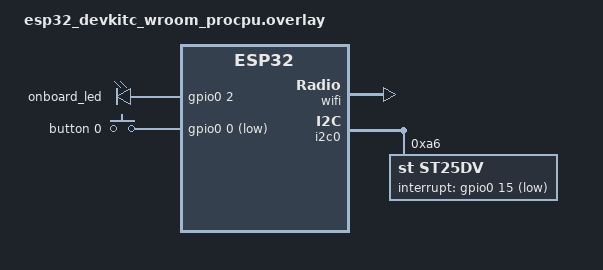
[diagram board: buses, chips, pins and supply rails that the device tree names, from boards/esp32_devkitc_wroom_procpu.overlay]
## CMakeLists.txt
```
cmake_minimum_required(VERSION 3.20.0)
set(CMAKE_VERBOSE_MAKEFILE 1)
set(DEVICE_CERT_PREFIX webblinky_demo)
set(SERVER_NAME golioth)

set(COMPATIBLE_BOARDS qemu_cortex_m3 qemu_cortex_r5 qemu_xtensa qemu_x86_64 esp32_devkitc_wroom esp32_devkitc_wrover esp32c3_devkitm esp32c3_devkitm/esp32c3 rpi_pico/rp2040/w rpi_pico rpi_pico2/rp2350a/m33/w nrf52_adafruit_feather teensy41 adafruit_feather_nrf52840 esp32_devkitc_wroom/esp32/procpu esp32_devkitc_wrover/esp32/procpu esp32c3_devkitm/esp32c3 esp32c6_devkitc esp32c6_devkitc/esp32c6 esp32c6_devkitc/esp32c6/hpcore)

set(WIFI_BOARDS qemu_cortex_r5 qemu_xtensa esp32_devkitc_wroom esp32_devkitc_wrover esp32c3_devkitm rpi_pico/rp2040/w rpi_pico2/rp2350a/m33/w rpi_pico esp32_devkitc_wroom/esp32/procpu esp32_devkitc_wrover/esp32/procpu esp32c3_devkitm/esp32c3 esp32c6_devkitc esp32c6_devkitc/esp32c6 esp32c6_devkitc/esp32c6/hpcore)
if(NOT ${BOARD} IN_LIST COMPATIBLE_BOARDS)
    message(FATAL_ERROR "App $ENV{UROS_APP} not compatible with board ${BOARD}")
endif()

add_compile_definitions(HAS_WIFI)
if(EXISTS  ${CMAKE_CURRENT_SOURCE_DIR}/local.conf )
  set(EXTRA_CONF_FILE local.conf)
else()
  MESSAGE(WARN " ${CMAKE_CURRENT_SOURCE_DIR}/local.conf not found")
endif()
list(APPEND EXTRA_ZEPHYR_MODULES "${CMAKE_CURRENT_SOURCE_DIR}/sensors")
list(APPEND EXTRA_ZEPHYR_MODULES "${CMAKE_CURRENT_SOURCE_DIR}/onboarding")


find_package(Zephyr REQUIRED HINTS $ENV{ZEPHYR_BASE})

project(webblinky)
function(add_dependencies_ifdef feature_toggle)
  if(${${feature_toggle}})
    add_dependencies(${ARGN})
  endif()
endfunction()


set(CMAKE_C_FLAGS "${CMAKE_C_FLAGS} -std=c17 -pendantic -Werror -ggdb")
set(gen_dir ${ZEPHYR_BINARY_DIR}/include/generated/)

if (${CONFIG_ONBOARDING_CERTS_GENERATE_CERTS} )
  if ( NOT CONFIG_ONBOARDING_CERTS_DEVICE_ID )
    message( FATAL_ERROR "DEVICE_ID not configured")
  endif()
  generate_inc_file_for_target(
    app
    root_cert/${SERVER_NAME}.crt.der
    ${gen_dir}/ca_certificate.inc
  )
  generate_inc_file_for_target(
    app
    device_certs/${DEVICE_CERT_PREFIX}-${CONFIG_ONBOARDING_CERTS_DEVICE_ID}.crt.der
    ${gen_dir}/device_cert.inc
  )

  generate_inc_file_for_target(
    app
    device_certs/${DEVICE_CERT_PREFIX}-${CONFIG_ONBOARDING_CERTS_DEVICE_ID}.key.der
    ${gen_dir}/device_privkey.inc
  )
endif()

FILE(GLOB app_sources src/main.c)



target_sources(app PRIVATE ${app_sources} )
target_link_libraries(app PUBLIC onboarding sensors)
target_link_libraries_ifdef(CONFIG_LIBST25DV app PUBLIC LIBST25DV )
```

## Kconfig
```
    
rsource "onboarding/Kconfig"
rsource "sensors/Kconfig"

module = WEBBLINKY
module-str = Web Blinky
module-help = Web Blinky demo

source "subsys/logging/Kconfig.template.log_config"

source "Kconfig.zephyr"
```

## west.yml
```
manifest:
  version: 1.2

  remotes:
    - name: beechwoods
      url-base: https://github.com/beechwoods-software

    - name: rpi-openocd
      url-base: https://github.com/raspberrypi

    - name: zephyr-project
      url-base: https://github.com/zephyrproject-rtos
    
    - name: zephyr-fork
      url-base: https://github.com/ThreeEights

  projects:
    - name: zephyr
      remote: zephyr-fork
      repo-path: zephyr
      revision: 18497c57f14b701c770d9067a9cdfeb3f908b5e8
      path: zephyr
      import:
        path-prefix: external
        name-allowlist:
          - cmsis_6
          - hal_infineon
          - hal_rpi_pico
          - zephyr
  
    - name: openocd
      remote: rpi-openocd
      repo-path: openocd
      revision: 806fa3d187d1fd5d940701e701a695c2e3998c18
      path: external/openocd
      
    - name: onboarding
      remote: beechwoods
      repo-path: onboarding
      revision: e48048b217d1adccc6bd425ed1537f344b0ff16f
      path: onboarding
      
    - name: st25dv
      remote: beechwoods
      repo-path: st25dv
      revision: 952205676cfd9af258dc56e046f17b607b3071a5
      path: onboarding/st25dv
    
    - name: sensors
      remote: beechwoods
      repo-path: sensors
      revision: 0a75132bfeaa5383c6fde677c0fe31b74b81f278
      path: sensors
      
  self:
    path: .
```

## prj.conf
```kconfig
CONFIG_BOOT_BANNER_STRING="Weblinky booting"

# onboarding features
CONFIG_ONBOARDING_WIFI=y
CONFIG_ONBOARDING_WIFI_AP=y
CONFIG_ONBOARDING_WEB_SERVER=y
CONFIG_ONBOARDING_CAPTIVE_PORTAL=y
CONFIG_ONBOARDING_BLUETOOTH=y
CONFIG_ONBOARDING_BLUETOOTH_GATT=y
CONFIG_ONBOARDING_SHELL=y
CONFIG_ONBOARDING_OTA=n
CONFIG_ONBOARDING_OTA_NAME="webblinky"
CONFIG_ONBOARDING_DT=n
CONFIG_ONBOARDING_NVS=y


CONFIG_OUTPUT_DISASSEMBLY=y
CONFIG_OUTPUT_DISASSEMBLE_ALL=n

#networking
CONFIG_NETWORKING=y
CONFIG_NET_L2_ETHERNET=y
CONFIG_NET_MAX_CONN=8

CONFIG_WIFI=y

# To support the bluetooth onboarding stuff
CONFIG_JSON_LIBRARY=y

CONFIG_ONBOARDING_LOG_LEVEL_DBG=y

CONFIG_FLASH_MAP=y
CONFIG_SETTINGS=y

#Bluetooth - Comment the items below out if you only want wifi
CONFIG_BT_SMP_LOG_LEVEL_DBG=y
CONFIG_BT_KEYS_LOG_LEVEL_DBG=y
CONFIG_BT_CONN_LOG_LEVEL_DBG=y
CONFIG_BT_GATT_LOG_LEVEL_DBG=n
CONFIG_BT_HCI_CORE_LOG_LEVEL_DBG=n
CONFIG_BT_HCI_DRIVER_LOG_LEVEL_DBG=n
CONFIG_BT_CRYPTO_LOG_LEVEL_DBG=y
CONFIG_BT_LOG_LEVEL_DBG=n

CONFIG_BT_RPA_LOG_LEVEL_DBG=y

CONFIG_NET_IPV4=y
CONFIG_NET_IPV4_AUTO=n
CONFIG_NET_UDP=y
CONFIG_NET_TCP=y
CONFIG_NET_IPV6=n

CONFIG_NET_DHCPV4=y
CONFIG_NET_DHCPV4_INITIAL_DELAY_MAX=10
CONFIG_NET_DHCPV4_SERVER=y

CONFIG_NET_SOCKETS_POLL_MAX=5
#CONFIG_NET_MAX_CONTEXTS=5
CONFIG_NET_MAX_CONTEXTS=12
CONFIG_NET_MAX_CONN=8
CONFIG_ZVFS_OPEN_MAX=20
CONFIG_NET_SOCKETS_SERVICE_STACK_SIZE=3072

#mDNS support
CONFIG_MDNS_RESPONDER=y
CONFIG_NET_HOSTNAME_ENABLE=y
CONFIG_NET_HOSTNAME_DYNAMIC=y
CONFIG_NET_HOSTNAME="webblinky"
CONFIG_NET_IPV4_IGMP=y

#DNS support
CONFIG_DNS_RESOLVER=y
CONFIG_DNS_RESOLVER_ADDITIONAL_BUF_CTR=5
CONFIG_DNS_RESOLVER_ADDITIONAL_QUERIES=2
CONFIG_DNS_RESOLVER_MAX_SERVERS=2
CONFIG_DNS_NUM_CONCUR_QUERIES=5
 
# Wifi AP support
CONFIG_ONBOARDING_WIFI_AP_ADDRESS="192.168.17.1"
CONFIG_ONBOARDING_WIFI_AP_SSID="webblinky-"

CONFIG_NVS=y

# Sensors
CONFIG_USE_BUTTON=y
CONFIG_USE_READY_LED=y

CONFIG_REBOOT=y

CONFIG_HWINFO=y
# Shells
CONFIG_SHELL=y
# needed to obtain device id
CONFIG_HWINFO_SHELL=y
CONFIG_NET_L2_WIFI_SHELL=y
CONFIG_NET_SHELL=y
CONFIG_FLASH_MAP_SHELL=y
CONFIG_FLASH_SHELL=y
CONFIG_I2C_SHELL=n
CONFIG_GPIO_SHELL=n
CONFIG_NET_SHELL=y
    
#Logging
CONFIG_LOG=y
CONFIG_LOG_MODE_MINIMAL=n
CONFIG_LOG_MODE_IMMEDIATE=n
CONFIG_WEBBLINKY_LOG_LEVEL_DBG=n
CONFIG_ONBOARDING_LOG_LEVEL_DBG=y
CONFIG_SENSORS_LOG_LEVEL_DBG=n
CONFIG_NET_LOG=y
CONFIG_NET_IPV4_LOG_LEVEL_DBG=n
CONFIG_NET_TCP_LOG_LEVEL_DBG=n
CONFIG_DNS_SOCKET_DISPATCHER_LOG_LEVEL_DBG=n
CONFIG_NET_ICMPV4_LOG_LEVEL_DBG=n
CONFIG_NET_DHCPV4_LOG_LEVEL_DBG=n
CONFIG_MDNS_RESPONDER_LOG_LEVEL_DBG=n
CONFIG_NET_MGMT_EVENT_LOG_LEVEL_DBG=n
CONFIG_NET_L2_WIFI_MGMT_LOG_LEVEL_DBG=n
CONFIG_WIFI_LOG_LEVEL_DBG=n
CONFIG_WIFI_NM_LOG_LEVEL_DBG=y
CONFIG_NET_SOCKETS_LOG_LEVEL_DBG=n
CONFIG_NVS_LOG_LEVEL_DBG=n
CONFIG_I2C_LOG_LEVEL_DBG=n
CONFIG_DNS_RESOLVER_LOG_LEVEL_DBG=n
CONFIG_FLASH_LOG_LEVEL_DBG=n


CONFIG_NET_SOCKETS=y

# The configuration of the CONFIG_XXXX_STACK_SIZE is both application and board specific
# Stack sizes moved to board specific conf files
# Network configuration moved to board specific conf files


CONFIG_GPIO=y
CONFIG_I2C=y

# developer
CONFIG_INIT_STACKS=y

#debug
CONFIG_NET_DEBUG_NET_PKT_ALLOC=n
CONFIG_KERNEL_SHELL=y

CONFIG_MAIN_STACK_SIZE=2048
CONFIG_ASSERT=y
CONFIG_ASSERT_VERBOSE=y
CONFIG_STACK_CANARIES=y
CONFIG_STACK_SENTINEL=y
#CONFIG_THREAD_NAME=y
#CONFIG_THREAD_STACK_INFO=n /* set by STACK_SENTINAL */
CONFIG_UART_CONSOLE_DEBUG_SERVER_HOOKS=n
```

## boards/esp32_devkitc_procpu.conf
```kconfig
CONFIG_SYSTEM_WORKQUEUE_STACK_SIZE=4096
CONFIG_SERIAL=y
    
CONFIG_WIFI=y
CONFIG_NET_L2_WIFI_MGMT=y

CONFIG_WIFI_ESP32=y

#WIFI Buffering
CONFIG_ESP32_WIFI_DYNAMIC_RX_MGMT_BUFFER=y
CONFIG_ESP32_WIFI_STATIC_RX_MGMT_BUFFER=n
#CONFIG_ESP32_WIFI_STATIC_RX_BUFFER_NUM=10

CONFIG_ESP32_WIFI_DYNAMIC_TX_BUFFER=y
CONFIG_ESP32_WIFI_STATIC_TX_BUFFER=n
#CONFIG_ESP32_WIFI_STATIC_TX_BUFFER_NUM=16

# AP
CONFIG_NET_MGMT_EVENT_STACK_SIZE=3072
CONFIG_ESP32_WIFI_STA_AUTO_DHCPV4=y
CONFIG_ESP32_WIFI_STA_RECONNECT=y

# speed improvement costs 10K ram
CONFIG_ESP32_WIFI_IRAM_OPT=y
# speed improvement costs 17K ram
CONFIG_ESP32_WIFI_RX_IRAM_OPT=n
#CONFIG_NET_TX_STACK_SIZE=2048
#CONFIG_NET_RX_STACK_SIZE=2048

CONFIG_NET_CONNECTION_MANAGER=n
CONFIG_HTTP_NUM_HANDLERS=2

#CONFIG_ESP_WIFI_HEAP_SYSTEM=n
#Debug
#CONFIG_ESP_LOG_LEVEL_DBG=y

#CONFIG_GOLIOTH_PSK_ID="20241113162258-esp32_1@webblinky"
#CONFIG_GOLIOTH_PSK="31fded193fb58cce277baaee5c4f613b"
```

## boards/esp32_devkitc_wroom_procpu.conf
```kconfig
CONFIG_SYSTEM_WORKQUEUE_STACK_SIZE=4096
CONFIG_SERIAL=y
    
CONFIG_WIFI=y
CONFIG_NET_L2_WIFI_MGMT=y

CONFIG_WIFI_ESP32=y

#WIFI Buffering
CONFIG_ESP32_WIFI_DYNAMIC_RX_MGMT_BUFFER=y
CONFIG_ESP32_WIFI_STATIC_RX_MGMT_BUFFER=n
#CONFIG_ESP32_WIFI_STATIC_RX_BUFFER_NUM=10

CONFIG_ESP32_WIFI_DYNAMIC_TX_BUFFER=y
CONFIG_ESP32_WIFI_STATIC_TX_BUFFER=n
#CONFIG_ESP32_WIFI_STATIC_TX_BUFFER_NUM=16

# AP
CONFIG_ESP32_WIFI_APSTA_MODE=y
CONFIG_NET_MGMT_EVENT_STACK_SIZE=3072
CONFIG_ESP32_WIFI_STA_AUTO_DHCPV4=y
CONFIG_ESP32_WIFI_STA_RECONNECT=y

# speed improvement costs 10K ram
CONFIG_ESP32_WIFI_IRAM_OPT=y
# speed improvement costs 17K ram
CONFIG_ESP32_WIFI_RX_IRAM_OPT=n
#CONFIG_NET_TX_STACK_SIZE=2048
#CONFIG_NET_RX_STACK_SIZE=2048

CONFIG_NET_CONNECTION_MANAGER=n
CONFIG_HTTP_NUM_HANDLERS=2

#CONFIG_ESP_WIFI_HEAP_SYSTEM=n
#Debug
#CONFIG_ESP_LOG_LEVEL_DBG=y

#CONFIG_GOLIOTH_PSK_ID="20241113162258-esp32_1@webblinky"
#CONFIG_GOLIOTH_PSK="31fded193fb58cce277baaee5c4f613b"
```

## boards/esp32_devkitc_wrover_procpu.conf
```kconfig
    
#CONFIG_HEAP_MEM_POOL_SIZE=51680
#CONFIG_HEAP_MEM_POOL_SIZE=63488
#CONFIG_HEAP_MEM_POOL_SIZE=71680
#CONFIG_HEAP_MEM_POOL_SIZE=40960

#CONFIG_GPIO_SHELL=n
CONFIG_SYSTEM_WORKQUEUE_STACK_SIZE=4096
CONFIG_SERIAL=y
    
CONFIG_WIFI=y
CONFIG_NET_L2_WIFI_MGMT=y

CONFIG_WIFI_ESP32=y

CONFIG_ESP32_WIFI_DYNAMIC_RX_MGMT_BUFFER=y
CONFIG_ESP32_WIFI_STATIC_RX_MGMT_BUFFER=n
    
CONFIG_ESP32_WIFI_DYNAMIC_TX_BUFFER=y
CONFIG_ESP32_WIFI_STATIC_TX_BUFFER=n

# AP
CONFIG_ESP32_WIFI_AP_STA_MODE=n
CONFIG_WIFI_NM=n
CONFIG_ESP32_WIFI_APSTA_MODE=y
CONFIG_NET_MGMT_EVENT_STACK_SIZE=3072
CONFIG_ESP32_WIFI_STA_AUTO_DHCPV4=y
CONFIG_ESP32_WIFI_STA_RECONNECT=y

# speed improvement costs 10K ram
CONFIG_ESP32_WIFI_IRAM_OPT=y
# speed improvement costs 17K ram
CONFIG_ESP32_WIFI_RX_IRAM_OPT=n
#CONFIG_NET_TX_STACK_SIZE=2048
#CONFIG_NET_RX_STACK_SIZE=2048


CONFIG_NET_CONNECTION_MANAGER=n
CONFIG_HTTP_NUM_HANDLERS=2

#CONFIG_ESP_WIFI_HEAP_SYSTEM=y
#Debug
#CONFIG_ESP_LOG_LEVEL_DBG=y

#CONFIG_ESP_LOG_LEVEL_DBG=y
#CONFIG_GOLIOTH_PSK_ID="20241118194259-esp32_wrover_cam@webblinky"
#CONFIG_GOLIOTH_PSK="28ad89ca374025ae0d807fcf875daaf3"
```

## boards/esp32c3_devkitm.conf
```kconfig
CONFIG_SYSTEM_WORKQUEUE_STACK_SIZE=2048

CONFIG_CONSOLE=y
CONFIG_SERIAL=y
CONFIG_UART_CONSOLE=n
CONFIG_SERIAL_ESP32_USB=y

CONFIG_USE_READY_LED_STRIP=y

#wifi
CONFIG_WIFI_ESP32=y
CONFIG_ESP32_WIFI_AP_STA_MODE=n
CONFIG_WIFI_NM=n
CONFIG_ESP_WIFI_HEAP_RUNTIME=y
CONFIG_ESP32_WIFI_STA_AUTO_DHCPV4=y
CONFIG_ESP32_WIFI_STA_RECONNECT=y
CONFIG_ESP32_WIFI_APSTA_MODE=y

CONFIG_ESP32_WIFI_DYNAMIC_RX_MGMT_BUFFER=n
CONFIG_ESP32_WIFI_STATIC_RX_MGMT_BUFFER=y
    
CONFIG_ESP32_WIFI_DYNAMIC_TX_BUFFER=n
CONFIG_ESP32_WIFI_STATIC_TX_BUFFER=y

# AP
CONFIG_ESP32_WIFI_AP_STA_MODE=n
CONFIG_WIFI_NM=n
CONFIG_ESP32_WIFI_APSTA_MODE=y
CONFIG_NET_MGMT_EVENT_STACK_SIZE=3072
CONFIG_ESP32_WIFI_STA_AUTO_DHCPV4=y
CONFIG_ESP32_WIFI_STA_RECONNECT=y
  
# speed improvement costs 10K ram
CONFIG_ESP32_WIFI_IRAM_OPT=y
# speed improvement costs 17K ram
CONFIG_ESP32_WIFI_RX_IRAM_OPT=n

CONFIG_NET_CONNECTION_MANAGER=n
CONFIG_HTTP_NUM_HANDLERS=2

#CONFIG_ESP_WIFI_HEAP_SYSTEM=y
#Debug
#CONFIG_ESP_LOG_LEVEL_DBG=y
```

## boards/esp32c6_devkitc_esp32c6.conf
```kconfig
CONFIG_SYSTEM_WORKQUEUE_STACK_SIZE=2600

CONFIG_USE_READY_LED=n

#wifi
CONFIG_WIFI_ESP32=y
#CONFIG_ESP_WIFI_HEAP_RUNTIME=y

#CONFIG_ESP32_WIFI_DYNAMIC_RX_MGMT_BUFFER=n
#CONFIG_ESP32_WIFI_STATIC_RX_MGMT_BUFFER=y
    
#CONFIG_ESP32_WIFI_DYNAMIC_TX_BUFFER=n
#CONFIG_ESP32_WIFI_STATIC_TX_BUFFER=y

# AP
#CONFIG_ESP32_WIFI_AP_STA_MODE=n
#CONFIG_WIFI_NM=n
CONFIG_ESP32_WIFI_APSTA_MODE=n
#CONFIG_NET_MGMT_EVENT_STACK_SIZE=3072
CONFIG_ESP32_WIFI_STA_AUTO_DHCPV4=y
CONFIG_ESP32_WIFI_STA_RECONNECT=y
  
# speed improvement costs 10K ram
#CONFIG_ESP32_WIFI_IRAM_OPT=n
# speed improvement costs 17K ram
#CONFIG_ESP32_WIFI_RX_IRAM_OPT=n

#CONFIG_NET_CONNECTION_MANAGER=n
#CONFIG_HTTP_NUM_HANDLERS=2

#CONFIG_ESP_WIFI_HEAP_SYSTEM=y
#Debug
#CONFIG_ESP_LOG_LEVEL_DBG=y
```

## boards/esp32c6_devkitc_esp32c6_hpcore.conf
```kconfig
CONFIG_HEAP_MEM_POOL_SIZE=114688
CONFIG_USE_READY_LED_STRIP=y

CONFIG_IDLE_STACK_SIZE=512
CONFIG_NET_MGMT_EVENT_STACK_SIZE=3072
CONFIG_NET_SOCKETS_SERVICE_STACK_SIZE=3072
CONFIG_ONBOARDING_WEB_STACK_SIZE=3076
#no TLS
#CONFIG_ONBOARDING_WEB_STACK_SIZE=2048
CONFIG_READY_LED_STACK_SIZE=1024
CONFIG_SHELL_STACK_SIZE=3072
CONFIG_SYSTEM_WORKQUEUE_STACK_SIZE=4096

#wifi
CONFIG_WIFI_ESP32=y
#CONFIG_ESP_WIFI_HEAP_RUNTIME=y

#CONFIG_ESP32_WIFI_DYNAMIC_RX_MGMT_BUFFER=n
#CONFIG_ESP32_WIFI_STATIC_RX_MGMT_BUFFER=y

#CONFIG_ESP32_WIFI_DYNAMIC_TX_BUFFER=n
#CONFIG_ESP32_WIFI_STATIC_TX_BUFFER=y

# AP
#CONFIG_ESP32_WIFI_AP_STA_MODE=n
#CONFIG_WIFI_NM=n
#CONFIG_NET_MGMT_EVENT_STACK_SIZE=3072
CONFIG_ESP32_WIFI_STA_AUTO_DHCPV4=y
CONFIG_ESP32_WIFI_STA_RECONNECT=y

# speed improvement costs 10K ram
#CONFIG_ESP32_WIFI_IRAM_OPT=n
# speed improvement costs 17K ram
#CONFIG_ESP32_WIFI_RX_IRAM_OPT=n

#CONFIG_NET_CONNECTION_MANAGER=n
#CONFIG_HTTP_NUM_HANDLERS=2

#CONFIG_ESP_WIFI_HEAP_SYSTEM=y
#Debug
#CONFIG_ESP_LOG_LEVEL_DBG=y
```

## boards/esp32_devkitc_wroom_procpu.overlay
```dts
&wifi {
        status = "okay";
};

/ {
    leds {
      compatible = "gpio-leds";
      onboard_led: led_ready {
      	gpios = <&gpio0 2 ( GPIO_ACTIVE_HIGH) > ;
      };
    };
    buttons {
        compatible = "gpio-keys";
  	    button0: button_0 {
     	    gpios = < &gpio0 0 (GPIO_PULL_UP | GPIO_ACTIVE_LOW) >;
     	    label = "button 0";
   	    };
    };
    zephyr,user {
        buttons = <&button0>;
        ready-led = <&onboard_led>;
    };
};

&i2c0 {
    status = "okay";

    st25dv: st25dv@a6 {
        compatible = "st,st25dv";
        reg = <0xa6>;
        interrupt-gpios = <&gpio0 15 GPIO_ACTIVE_LOW>;
        status = "okay";
    };
};
```

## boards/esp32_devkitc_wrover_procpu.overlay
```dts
&wifi {
        status = "okay";
};

/ {
    leds {
      compatible = "gpio-leds";
      onboard_led: led_ready {
      	gpios = <&gpio0 2 ( GPIO_ACTIVE_HIGH) > ;
      };
    };
    buttons {
        compatible = "gpio-keys";
  	    button0: button_0 {
     	    gpios = < &gpio0 0 (GPIO_PULL_UP | GPIO_ACTIVE_LOW) >;
     	    label = "button 0";
   	    };
    };
    zephyr,user {
        buttons = <&button0>;
        ready-led = <&onboard_led>;
    };
};
```

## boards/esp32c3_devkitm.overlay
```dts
#include <zephyr/dt-bindings/pinctrl/esp-pinctrl-common.h>
#include <dt-bindings/pinctrl/esp32-pinctrl.h>
#include <zephyr/dt-bindings/pinctrl/esp32-gpio-sigmap.h>
#include <zephyr/dt-bindings/led/led.h>

&wifi {
        status = "okay";
};


/ {

    buttons {
        compatible = "gpio-keys";
  	    button0: button_0 {
     	    gpios = < &gpio0 9 (GPIO_PULL_UP | GPIO_ACTIVE_LOW) >;
     	    label = "button 0";
   	    };
    };
    zephyr,user {
        buttons = <&button0>;
        ready-led = <&led_strip>;
    };
    chosen {
    	zephyr,shell-uart = &usb_serial;
    };    	   
};


&spi2 {
	#address-cells = <1>;
	#size-cells = <0>;
	status = "okay";
	pinctrl-0 = <&spim2_default>;
	pinctrl-names = "default";

	/* Workaround to support WS2812 driver */
	line-idle-low;
	status = "okay";

	led_strip: ws2812@0 {
		compatible = "worldsemi,ws2812-spi";

		/* SPI */
		reg = <0>; /* ignored, but necessary for SPI bindings */
		spi-max-frequency = <6400000>;

		/* WS2812 */
		chain-length = <1>; /* arbitrary; change at will */
		spi-cpha;
		spi-one-frame = <0xf0>; /* 11110000: 625 ns high and 625 ns low */
		spi-zero-frame = <0xc0>; /* 11000000: 312.5 ns high and 937.5 ns low */
		color-mapping = <LED_COLOR_ID_GREEN
					LED_COLOR_ID_RED
					LED_COLOR_ID_BLUE>;
	};
};
&pinctrl {
    spim2_default: spim2_default {
        group2 {
            pinmux = <SPIM2_MOSI_GPIO8>;
        };
    };
};
```

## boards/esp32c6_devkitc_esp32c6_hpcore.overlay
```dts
#include <zephyr/dt-bindings/pinctrl/esp-pinctrl-common.h>
#include <dt-bindings/pinctrl/esp32-pinctrl.h>
#include <zephyr/dt-bindings/pinctrl/esp32-gpio-sigmap.h>
#include <zephyr/dt-bindings/led/led.h>

&wifi {
        status = "okay";
};


/ {

    buttons {
        compatible = "gpio-keys";
  	    button0: button_0 {
     	    gpios = < &gpio0 0 (GPIO_PULL_UP | GPIO_ACTIVE_LOW) >;
     	    label = "button 0";
   	    };
    };
    zephyr,user {
        buttons = <&button0>;
        ready-led = <&led_strip>;
    };
};


&spi2 {
	#address-cells = <1>;
	#size-cells = <0>;
	status = "okay";
	pinctrl-0 = <&spim2_default>;
	pinctrl-names = "default";

	/* Workaround to support WS2812 driver */
	line-idle-low;
	status = "okay";

	led_strip: ws2812@0 {
		compatible = "worldsemi,ws2812-spi";

		/* SPI */
		reg = <0>; /* ignored, but necessary for SPI bindings */
		spi-max-frequency = <6400000>;

		/* WS2812 */
		chain-length = <1>; /* arbitrary; change at will */
		spi-cpha;
		spi-one-frame = <0xf0>; /* 11110000: 625 ns high and 625 ns low */
		spi-zero-frame = <0xc0>; /* 11000000: 312.5 ns high and 937.5 ns low */
		color-mapping = <LED_COLOR_ID_GREEN
					LED_COLOR_ID_RED
					LED_COLOR_ID_BLUE>;
	};
};
&pinctrl {
    spim2_default: spim2_default {
        group2 {
            pinmux = <SPIM2_MOSI_GPIO8>;
        };
    };
};
```

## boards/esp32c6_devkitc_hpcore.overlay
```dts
#include <zephyr/dt-bindings/pinctrl/esp-pinctrl-common.h>
#include <dt-bindings/pinctrl/esp32-pinctrl.h>
#include <zephyr/dt-bindings/pinctrl/esp32-gpio-sigmap.h>
#include <zephyr/dt-bindings/led/led.h>

&wifi {
        status = "okay";
};

/ {
	wifi_ap: wifi_ap {
		compatible = "espressif,esp32-wifi";
		status = "okay";
	};
};


/ {

    buttons {
        compatible = "gpio-keys";
  	    button0: button_0 {
     	    gpios = < &gpio0 0 (GPIO_PULL_UP | GPIO_ACTIVE_LOW) >;
     	    label = "button 0";
   	    };
    };
    zephyr,user {
        buttons = <&button0>;
        ready-led = <&led_strip>;
    };
};


&spi2 {
	#address-cells = <1>;
	#size-cells = <0>;
	status = "okay";
	pinctrl-0 = <&spim2_default>;
	pinctrl-names = "default";

	/* Workaround to support WS2812 driver */
	line-idle-low;
	status = "okay";

	led_strip: ws2812@0 {
		compatible = "worldsemi,ws2812-spi";

		/* SPI */
		reg = <0>; /* ignored, but necessary for SPI bindings */
		spi-max-frequency = <6400000>;

		/* WS2812 */
		chain-length = <1>; /* arbitrary; change at will */
		spi-cpha;
		spi-one-frame = <0xf0>; /* 11110000: 625 ns high and 625 ns low */
		spi-zero-frame = <0xc0>; /* 11000000: 312.5 ns high and 937.5 ns low */
		color-mapping = <LED_COLOR_ID_GREEN
					LED_COLOR_ID_RED
					LED_COLOR_ID_BLUE>;
	};
};
&pinctrl {
    spim2_default: spim2_default {
        group2 {
            pinmux = <SPIM2_MOSI_GPIO8>;
        };
    };
};
```

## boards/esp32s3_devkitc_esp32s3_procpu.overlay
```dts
#include <zephyr/dt-bindings/led/led.h>

&wifi {
        status = "okay";
};

/ {
    buttons {
        compatible = "gpio-keys";
  	    button0: button_0 {
     	    gpios = < &gpio0 0 (GPIO_PULL_UP | GPIO_ACTIVE_LOW) >;
     	    label = "button 0";
   	    };
    };
    zephyr,user {
        buttons = <&button0>;
        ready-led = <&led_strip>;
    };
    aliases {
        led-strip = &led_strip;
    };
};

i2s_led: &i2s0 {
	status = "okay";

	pinctrl-0 = <&i2s0_pinconf>;

	dmas = <&dma 3>;
	dma-names = "tx";

	led_strip: ws2812@0 {
		compatible = "worldsemi,ws2812-i2s";

		reg = <0>;
		chain-length = <46>;
		color-mapping = <LED_COLOR_ID_GREEN
				 LED_COLOR_ID_RED
				 LED_COLOR_ID_BLUE>;
		reset-delay = <500>;
	};
};
&dma {
	status = "okay";
};


&pinctrl {
	i2s0_pinconf: i2s0_pinconf {
		group1 {
            pinmux = <I2S0_O_SD_GPIO48>;
			output-enable;
		};
	};
};
```

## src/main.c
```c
/*
 * Copyright (c) 2024 Beechwoods Software
 * SPDX-License-Identifier: Apache 2.0
 *
 */

#include <zephyr/kernel.h>
#include <zephyr/net/socket.h>
#include "ob_wifi.h"
#include "ob_web_server.h"
#include "ob_captive_portal.h"
#include "ob_nvs_data.h"
#include <zephyr/sys/reboot.h>
#include "ready_led.h"
#include "button.h"
#ifdef CONFIG_ONBOARDING_OTA
#include "ob_ota.h"
#endif // CONFIG_ONBOARDING_OTA
#ifdef CONFIG_ONBOARDING_NFC
#include "ob_nfc_tag.h"
#endif
#ifdef CONFIG_ONBOARDING_BLUETOOTH
#include "ob_bluetooth.h"
#endif

#define SECONDS_UNTIL_RESET 6

#include <zephyr/logging/log.h>
LOG_MODULE_REGISTER(webblinky, CONFIG_WEBBLINKY_LOG_LEVEL);

#define LED_ATTRIBUTE "readyled"
#define APP_WEB_PATH_NAME "/webblinky"
#define APP_WEB_TITLE "Select Blink"
static uint8_t content_body[] = {
   "<body><h2>Blink Speeds</h2><p>Select blink speed</p><form method=\"post\" enctype=\"text/plain\" action=\"" APP_WEB_PATH_NAME "\">"
  "<input type=\"radio\" id=\"off\" name=\"speed\" value=\"OFF\"><label for=\"off\">Off</label>"
  "<br><input type=\"radio\" id=\"slow\" name=\"speed\" value=\"SLOW\"><label for=\"slow\">Slow</label>"
  "<br><input type=\"radio\" id=\"medium\" name=\"speed\" value=\"MEDIUM\"><label for=\"medium\">Medium</label>"
  "<br><input type=\"radio\" id=\"fast\" name=\"speed\" value=\"FAST\"><label for=\"fast\">Fast</label>"
  "<br><input type=\"radio\" id=\"on\" name=\"speed\" value=\"ON\"><label for=\"on\">On</label>"
  "<br><br><input type=\"submit\" value=\"Submit\"></form></body></html>\r\n\r\n"
};



int app_get(int client, struct web_page * wp)
{
  int rc = -1;
  const char *header200 = CreateHeader200(sizeof(content_body), wp->title);
  if(NULL != header200) {
    rc = sendall(client, header200, strlen(header200));
    if(rc < 0) {
      LOG_ERR("HTTP Header send failed %d",errno);
    } else {
      rc = sendall(client, content_body, sizeof(content_body));
      if(rc < 0) {
        LOG_ERR("HTTP body send failed %d", errno);
      }
      LOG_HEXDUMP_DBG(content_body, sizeof(content_body),"Header200");
    }
  }

  LOG_DBG("Webblinky get called");
  return rc;
}


typedef int (*led_fun_ptr_t)(void);
int  ready_led_slow()
{
#ifdef CONFIG_USE_READY_LED
  ready_led_set(READY_LED_LONG);
#endif
  return 0;
}
int ready_led_medium()
{
#ifdef CONFIG_USE_READY_LED
  ready_led_set(READY_LED_SHORT);
#endif
  return 0;
}
int ready_led_fast()
{
#ifdef CONFIG_USE_READY_LED
  ready_led_set(READY_LED_PANIC);
#endif
  return 0;
}

post_attributes_t webblinky_attributes[] = {
  {"speed", 5}
};

#define NUM_WEBBLINKY_ATTRIBUTES ((sizeof webblinky_attributes)/sizeof(post_attributes_t))

#define LED_OFF "OFF"
#define LED_SLOW "SLOW"
#define LED_MEDIUM "MEDIUM"
#define LED_FAST "FAST"
#define LED_ON "ON"

value_action_t speed_actions[] = {
#ifdef CONFIG_USE_READY_LED
  { LED_OFF, sizeof(LED_OFF), &ready_led_off },
#endif
  { LED_SLOW, sizeof(LED_SLOW), &ready_led_slow },
  { LED_MEDIUM, sizeof(LED_MEDIUM), &ready_led_medium },
  { LED_FAST, sizeof(LED_FAST), &ready_led_fast },
#ifdef CONFIG_USE_READY_LED
  { LED_ON, sizeof(LED_ON), &ready_led_on }
#endif
};
#define NUM_SPEED_ACTIONS (sizeof(speed_actions)/sizeof(value_action_t))

int app_post(int client, struct web_page * wp)
{

  int rc;
  int i;
  bool found = false;
  value_action_t * vap;
  led_fun_ptr_t func;
  if((rc =  ob_ws_process_post(client, webblinky_attributes,
                               NUM_WEBBLINKY_ATTRIBUTES, wp)) >= 0) {
    for(i = 0; i < NUM_WEBBLINKY_ATTRIBUTES; i++) {
      vap = &speed_actions[i];
      LOG_DBG("Checking %s", vap->match);
      if(!strncmp(webblinky_attributes[0].valuebuffer, vap->match, vap->length)) {
        LOG_DBG("Matched %s", vap->match);
        func = (led_fun_ptr_t)vap->userdata;
        (*func)();
#ifdef CONFIG_ONBOARDING_DT
        ob_dt_set(LED_ATTRIBUTE, vap->match);
#endif // CONFIG_ONBOARDING_DT
        found=true;
        break;
      }
    }
    if(!found) {
      LOG_ERR("Bad value %s", webblinky_attributes[0].valuebuffer);
    }
    app_get(client, wp);
  }
  return rc;
}

#if 0
#define POST_BUFFER_SIZE 64

  char buffer[POST_BUFFER_SIZE];
  int rc = 0;
  char * tok;
  char * value;
  web_attributes_t * wap;
  bool found = false;
  int i;
  led_fun_ptr_t func;

  LOG_DBG("Webblinky post called");
  rc = zsock_recv(client, buffer, POST_BUFFER_SIZE-1, 0);
  if(rc < 0) {
    LOG_ERR("POST Read failed %d", rc);
  } else if (rc >0) {
    buffer[rc] = 0;
    LOG_DBG("received '%s'", buffer);
    tok = strtok(buffer, post_delims);
    if((NULL != tok) && (!strncmp("speed", tok, 5))) {
      value = strtok(NULL, post_delims);
      if(NULL != value) {
        LOG_DBG("value %s %d %d %d",value, (int)NUM_WEB_ATTRIBUTES, (int)sizeof(web_attributes_t), (int)sizeof(web_attributes));
        for(i = 0; i < NUM_WEB_ATTRIBUTES; i++) {
          wap = &web_attributes[i];
          LOG_DBG("Checking %s", wap->name);
          if(!strncmp(value, wap->name, wap->length)) {
            LOG_DBG("Matched %s", wap->name);
            func = (led_fun_ptr_t)wap->userdata;
            (*func)();
#ifdef CONFIG_ONBOARDING_DT
            ob_dt_set(LED_ATTRIBUTE, value);
#endif // CONFIG_ONBOARDING_DT
            found=true;
            break;
          }
        }
        if(!found) {
          LOG_ERR("Bad value %s", value);
        }
      }
    }
    app_get(client, wp);
  }
  return rc;
}
#endif


#ifdef CONFIG_USE_BUTTON
static uint64_t b_start = 0;
void
button_handler(button_callback_data_t * cbd)
{
  uint64_t t = k_uptime_get();
  uint64_t end;
  LOG_DBG("Now %d:%lld %d", cbd->button, t, cbd->state);
  switch(cbd->state) {
  case BUTTON_STATE_PRESSED:
    if(0 == b_start) {
      b_start = t;
    }
    break;
  case BUTTON_STATE_RELEASED:
    end = t - b_start;
    LOG_DBG("end %lld(%lld)", t, end);
    if(end > 6000) {
#ifdef CONFIG_ONBOARDING_NVS
      LOG_ERR("Factory reset");
      ob_nvs_data_factory_reset();
#endif // CONFIG_ONBOARDING_NVS
      sys_reboot(SYS_REBOOT_WARM);
    }
    b_start = 0;
    break;
  default:
    LOG_ERR("Bad state %d", cbd->state);
    break;
  }
}
#endif // CONFIG_USE_BUTTON

int
main(void)
{
  
  int rc =0;
  printf("Starting webblinky\n");
  LOG_DBG("Webblinky");
  ob_nvs_data_init();
#ifdef  CONFIG_USE_READY_LED
  ready_led_init();
  ready_led_set(READY_LED_DELAY_LONG);
#endif //CONFIG_USE_READY_LED
#ifdef CONFIG_USE_BUTTON
  button_init(button_handler);
#endif //CONFIG_USE_BUTTON
#ifdef CONFIG_ONBOARDING_BLUETOOTH
  bluetooth_init();
#endif  
#ifdef CONFIG_ONBOARDING_NFC
  init_nfc_onboarding_module();
  start_nfc_onboarding_listener();
#endif // CONFIG_ONBOARDING_NFC
#ifdef CONFIG_ONBOARDING_WIFI
  ob_wifi_init();
#endif
#ifdef CONFIG_ONBOARDING_WEB_SERVER
  init_web_server();
#ifdef CONFIG_ONBOARDING_CAPTIVE_PORTAL
  ob_cp_init();
#endif // CONFIG_ONBOARDING_CAPTIVE_PORTAL
  rc = ob_ws_register_web_page(APP_WEB_PATH_NAME, APP_WEB_TITLE, app_get, app_post, true);
  start_web_server();
#endif //CONFIG_ONBOARDING_WEB_SERVER
#ifdef CONFIG_ONBOARDING_OTA
  ota_init();
#endif // CONFIG_ONBOARDING_OTA
  LOG_DBG("Initialization complete %d", rc);
  while(1) {
    k_sleep(K_FOREVER);
  }
}
```
